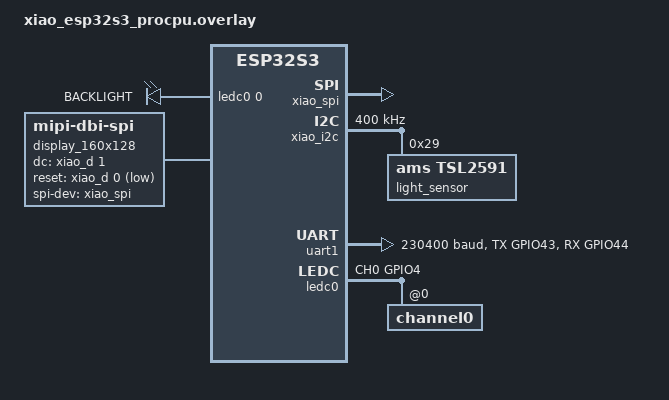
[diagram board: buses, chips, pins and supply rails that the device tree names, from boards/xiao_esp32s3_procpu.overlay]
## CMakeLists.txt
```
# SPDX-License-Identifier: Apache-2.0

cmake_minimum_required(VERSION 3.20.0)

set (CMAKE_CXX_STANDARD 20)
set (CMAKE_CXX_STANDARD_REQUIRED ON)

# Default board to seeed xiao esp32s3
if (NOT DEFINED ${BOARD})
  set(BOARD xiao_esp32s3/esp32s3/procpu)
endif()

# Define board root to find our custom shield
set(BOARD_ROOT ${CMAKE_SOURCE_DIR})

find_package(Zephyr REQUIRED HINTS $ENV{ZEPHYR_BASE})

project(imubar)

FILE(GLOB app_sources src/*.cpp)
FILE(GLOB font_sources src/fonts/*.c)
set(common_sources
  ${CMAKE_SOURCE_DIR}/../src/serial.cpp
  ${CMAKE_SOURCE_DIR}/../src/interface.cpp
)

add_compile_definitions(LV_LVGL_H_INCLUDE_SIMPLE)

target_sources(app PRIVATE ${app_sources} ${common_sources} ${font_sources})
```

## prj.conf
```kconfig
# ESP32S3 specific
#CONFIG_BOOTLOADER_MCUBOOT=y
CONFIG_DEBUG=y

CONFIG_LOG=y
CONFIG_UART_CONSOLE=y
CONFIG_LOG_MODE_IMMEDIATE=y
CONFIG_LOG_DEFAULT_LEVEL=2
CONFIG_LOG_BACKEND_UART=y
CONFIG_CBPRINTF_FP_SUPPORT=y

CONFIG_MAIN_STACK_SIZE=2048
CONFIG_HEAP_MEM_POOL_SIZE=131072
CONFIG_WATCHDOG=y
CONFIG_WDT_DISABLE_AT_BOOT=n

CONFIG_CPP=y
CONFIG_STD_CPP20=y
CONFIG_GLIBCXX_LIBCPP=y
CONFIG_FPU=y
CONFIG_FPU_SHARING=y

CONFIG_I2C=y                                                                                         
CONFIG_SPI=y
CONFIG_GPIO=y
CONFIG_PWM=y
CONFIG_SENSOR=y
CONFIG_SERIAL=y

CONFIG_UART_INTERRUPT_DRIVEN=y
CONFIG_UART_USE_RUNTIME_CONFIGURE=y

CONFIG_RING_BUFFER=y

CONFIG_DISPLAY=y
CONFIG_DISPLAY_LOG_LEVEL_ERR=y

CONFIG_LVGL=y
CONFIG_LV_Z_BITS_PER_PIXEL=16
CONFIG_LV_Z_MEM_POOL_SIZE=65536
CONFIG_LV_Z_SHELL=n
#CONFIG_LV_COLOR_DEPTH_32=y
CONFIG_LV_Z_FLUSH_THREAD=y

#CONFIG_LV_MEM_CUSTOM=y
CONFIG_LV_USE_LOG=y
CONFIG_LV_USE_LABEL=y
CONFIG_LV_USE_BTN=y
#CONFIG_LV_USE_ARC=y
#CONFIG_LV_USE_MONKEY=y

CONFIG_ESP_SPIRAM=y
CONFIG_ESP_SPIRAM_MEMTEST=n
CONFIG_SPIRAM_MODE_OCT=y
CONFIG_SPIRAM_TYPE_ESPPSRAM64=y
CONFIG_SPIRAM_SPEED_80M=y
CONFIG_ESP32S3_DATA_CACHE_64KB=y
```

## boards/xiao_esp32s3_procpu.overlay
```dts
#include <zephyr/dt-bindings/mipi_dbi/mipi_dbi.h>                                                    
#include <zephyr/dt-bindings/pwm/pwm.h>

/ {                                                                                                  
  backlight {
    compatible = "pwm-leds";
    backlight0: backlight_0 {
      pwms = <&ledc0 0 1000 PWM_POLARITY_NORMAL>;
      label = "BACKLIGHT";
    };
  };

  aliases {
    pwm0 = &ledc0;
    backlight0 = &backlight0;
    uartinterface = &uart1;
  };

  chosen {                                                                                     
    zephyr,display = &st7735s_160x128;                                       
  };                                                                                           

  display_160x128 {                                                               
    compatible = "zephyr,mipi-dbi-spi";                                                  
    spi-dev = <&xiao_spi>;                                                            
    dc-gpios = <&xiao_d 1 GPIO_ACTIVE_HIGH>;                     
    reset-gpios = <&xiao_d 0 GPIO_ACTIVE_LOW>;                     
    #address-cells = <1>;                                                                
    #size-cells = <0>;                                                                   

    st7735s_160x128: st7735r@0 {                                             
      compatible = "sitronix,st7735r";                                             
      mipi-max-frequency = <20000000>;                                             
      mipi-mode = <MIPI_DBI_MODE_SPI_4WIRE>;                                       
      reg = <0>;                                                                   
      width = <160>;                                                               
      height = <128>;                                                              
      x-offset = <0>;                                                              
      y-offset = <0>;                                                              
      madctl = <0x60>;                                                             
      colmod = <0x55>;                                                             
      vmctr1 = <0x0e>;                                                             
      pwctr1 = [a2 02 84];                                                         
      pwctr2 = [c5];                                                               
      pwctr3 = [0a 00];                                                            
      pwctr4 = [8a 2a];                                                            
      pwctr5 = [8a ee];                                                            
      frmctr1 = [01 2c 2d];                                                        
      frmctr2 = [01 2c 2d];                                                        
      frmctr3 = [01 2c 2d 01 2c 2d];                                               
      gamctrp1 = [02 1c 07 12 37 32 29 2d 29 25 2b 39 00 01 03 10];                
      gamctrn1 = [03 1d 07 06 2e 2c 29 2d 2e 2e 37 3f 00 00 02 10];                
    };                                                                                   
  };                                                                                           
};                          

&xiao_spi {
  status = "okay";
  cs-gpios = <&xiao_d 2 GPIO_ACTIVE_LOW>;
};

&xiao_i2c {
  clock-frequency = <I2C_BITRATE_FAST>;
  status = "okay";
  light_sensor: tsl2591@29 {
    compatible = "ams,tsl2591";
    reg = <0x29>;
  };
};

&pinctrl {
  uart0_default: uart0_default {
          group1 {
                  pinmux = <UART0_TX_GPIO33>;
                  output-high;
          };
          group2 {
                  pinmux = <UART0_RX_GPIO34>;
                  bias-pull-up;
          };
  };

  uart1_default: uart1_default {
          group1 {
                  pinmux = <UART1_TX_GPIO43>;
                  output-high;
          };
          group2 {
                  pinmux = <UART1_RX_GPIO44>;
                  bias-pull-up;
          };
  };

  ledc0_default: ledc0_default {
    group1 {
      pinmux = <LEDC_CH0_GPIO4>;
      output-enable;
    };
  };
};

&uart1 {
  status = "okay";
  current-speed = <230400>;
  pinctrl-0 = <&uart1_default>;
  pinctrl-names = "default";
};

&ledc0 {
  pinctrl-0 = <&ledc0_default>;
  pinctrl-names = "default";
  status = "okay";
  #address-cells = <1>;
  #size-cells = <0>;
  channel0@0 {
    reg = <0x0>;
    timer = <0>;
  };
};
```

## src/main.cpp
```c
#include <zephyr/kernel.h>
#include <zephyr/logging/log.h>
#include <zephyr/drivers/gpio.h>

#include "display.h"
#include "errors.h"
#include "watchdog.h"
#include "../../src/interface.h"

LOG_MODULE_REGISTER(imubar);

#define LED0_NODE DT_ALIAS(led0)

using namespace imubar;

/*
 * A build error on this line means your board is unsupported.
 * See the sample documentation for information on how to fix this.
 */
static const struct gpio_dt_spec led = GPIO_DT_SPEC_GET(LED0_NODE, gpios);

void check_show_messages() {
  char msg[32];
  auto size = interface::read((uint8_t*)msg, 31);
  msg[size] = '\0';
  if (size > 0) {
    LOG_INF("Message: %s", msg);
    display::show_message(msg);
  }
}

int main() {
  interface::initialize();
  display::initialize();
  watchdog::initialize();

  if (!gpio_is_ready_dt(&led)) {
    LOG_ERR("Led0 not ready");
    return 0;
  }

  auto ret = gpio_pin_configure_dt(&led, GPIO_OUTPUT_ACTIVE);
  if (ret < 0) {
    LOG_ERR("Failed to configure led0");
    return 0;
  }

  int i = 0;
  LOG_INF("Starting loop");
  while (true) {
    ++i;
    if (i % 10 == 0) {
      check_show_messages();
    }
    if (i % 100 == 0) {
      LOG_DBG("Toggle led...");
      gpio_pin_toggle_dt(&led);
      LOG_DBG("... done");
      LOG_DBG("Update backlight...");
      display::update_backlight();
      LOG_DBG("... done");
    }
    if (i % 1000 == 0) {
      LOG_DBG("Ping");
      interface::ping();
    }
    display::update();
    watchdog::feed();
    k_msleep(10);
  }
  return 0;
}
```

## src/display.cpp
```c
#include <zephyr/kernel.h>
#include <zephyr/drivers/display.h>
#include <zephyr/drivers/gpio.h>
#include <zephyr/drivers/pwm.h>
#include <zephyr/logging/log.h>
#include <zephyr/device.h>
#include <lvgl.h>

#include "errors.h"
#include "display.h"
#include "../../src/interface.h"


LV_FONT_DECLARE(font_8);
LV_FONT_DECLARE(font_12);
LV_FONT_DECLARE(font_14);
LV_FONT_DECLARE(font_14_bold);
LV_FONT_DECLARE(font_18);
LV_FONT_DECLARE(font_18_bold);
LV_FONT_DECLARE(symbols_14);
LV_FONT_DECLARE(symbols_18);
LV_FONT_DECLARE(symbols_22);

LOG_MODULE_DECLARE(imubar);

#define BACKLIGHT0_NODE DT_ALIAS(backlight0)
#define LIGHT_SENSOR DT_NODELABEL(light_sensor)

namespace imubar {
namespace display {

static const struct pwm_dt_spec backlight = PWM_DT_SPEC_GET(BACKLIGHT0_NODE);
static const struct device *display_dev = DEVICE_DT_GET(DT_CHOSEN(zephyr_display));
static const struct device *light_sensor = DEVICE_DT_GET(LIGHT_SENSOR);

static lv_style_t* create_style() {
  lv_style_t* result = (lv_style_t*)lv_mem_alloc(sizeof(lv_style_t));
  lv_style_init(result);
  return result;
}

static lv_obj_t* create_label(lv_obj_t* parent, lv_align_t align, lv_font_t const* font, int32_t x_offs=0, int32_t y_offs=0) {
  lv_obj_t* result = lv_label_create(parent);
  lv_style_t* style = create_style();
  lv_style_set_text_font(style, font);
  lv_obj_add_style(result, style, 0);
  lv_obj_align(result, align, x_offs, y_offs);
  return result;
}

void show_sensor_value(sensor_value value) {
  static lv_obj_t *label = create_label(lv_scr_act(), LV_ALIGN_CENTER, &font_14);
  static char value_str[16];
  snprintf(value_str, sizeof(value_str), "%d", value.val1);
  lv_label_set_text_static(label, value_str);
}

void show_message(char const* msg) {
  static lv_obj_t *label = create_label(lv_scr_act(), LV_ALIGN_BOTTOM_MID, &font_14);
  static char label_text[32];
  strncpy(label_text, msg, 32);
  label_text[31] = '\0';
  lv_label_set_text_static(label, label_text);
}

void set_backlight(uint8_t brightness) {
  pwm_set_dt(&backlight, 255000, 1000 * brightness);
}


void update_backlight() {
  auto ret = sensor_sample_fetch(light_sensor);
  if (ret < 0) {
    LOG_ERR("Failed to fetch light sensor sample");
    return;
  }
  sensor_value value;
  ret = sensor_channel_get(light_sensor, SENSOR_CHAN_LIGHT, &value);
  if (ret < 0) {
    LOG_ERR("Failed to get light sensor sample");
    return;
  }
  static int32_t light_value = 0;
  show_sensor_value(value);
  light_value = (light_value * 9 + value.val1) / 10;
  if (light_value > 1696) {
    set_backlight(254);
  }
  else if (light_value > 256) {
    set_backlight(light_value / 8 + 42);
  }
  else {
    set_backlight(light_value / 4 + 10);
  }
}

void update() {
  lv_task_handler();
}

void test() {
  static lv_style_t style1;
  static lv_style_t style2;
  static lv_style_t style3;
  static lv_style_t style4;
  static lv_style_t style5;
  static lv_style_t style6;

  lv_style_init(&style1);
  lv_style_set_text_font(&style1, &font_8);
  lv_style_set_text_color(&style1, lv_color_hex(0xFFFFFF));

  lv_style_init(&style2);
  lv_style_set_text_font(&style2, &font_12);
  lv_style_set_text_color(&style2, lv_color_hex(0xFFFFFF));

  lv_style_init(&style3);
  lv_style_set_text_font(&style3, &font_14);
  lv_style_set_text_color(&style3, lv_color_hex(0xFFFFFF));

  lv_style_init(&style4);
  lv_style_set_text_font(&style4, &symbols_14);
  lv_style_set_text_color(&style4, lv_color_hex(0xFFFFFF));

  lv_style_init(&style5);
  lv_style_set_text_font(&style5, &symbols_18);
  lv_style_set_text_color(&style5, lv_color_hex(0xFFFFFF));

  lv_style_init(&style6);
  lv_style_set_text_font(&style6, &symbols_22);
  lv_style_set_text_color(&style6, lv_color_hex(0xFFFFFF));


  static lv_obj_t * rect1 = lv_obj_create(lv_scr_act());
  lv_obj_set_size(rect1, 160, 128);
  lv_obj_set_pos(rect1, 0, 0);
  lv_obj_set_style_bg_color(rect1 , lv_color_hex(0x00FFFF), 0);

  static lv_obj_t * rect2 = lv_obj_create(lv_scr_act());
  lv_obj_set_size(rect2, 144, 112);
  lv_obj_set_style_pad_all(rect2, 5, 0);
  lv_obj_align(rect2, LV_ALIGN_CENTER, 0, 0);
  lv_obj_set_style_bg_color(rect2 , lv_color_hex(0xFF0000), 0);

  static lv_obj_t *label1 = lv_label_create(rect2);
  lv_obj_add_style(label1, &style1, 0);
  lv_label_set_text(label1, "12345.67890");
  lv_obj_align(label1, LV_ALIGN_TOP_MID, 0, 0);

  static lv_obj_t *label2 = lv_label_create(rect2);
  lv_obj_add_style(label2, &style2, 0);
  lv_label_set_text(label2, "12345.67890");
  lv_obj_align_to(label2, label1, LV_ALIGN_OUT_BOTTOM_MID, 0, -4);

  static lv_obj_t *label3 = lv_label_create(rect2);
  lv_obj_add_style(label3, &style3, 0);
  lv_label_set_text(label3, "12345.67890");
  lv_obj_align_to(label3, label2, LV_ALIGN_OUT_BOTTOM_MID, 0, 0);

  static lv_obj_t *label4 = lv_label_create(rect2);
  lv_obj_add_style(label4, &style4, 0);
  lv_label_set_text(label4, LV_SYMBOL_BATTERY_2);
  lv_obj_align_to(label4, label3, LV_ALIGN_OUT_BOTTOM_MID, 0, 0);

  static lv_obj_t *label5 = lv_label_create(rect2);
  lv_obj_add_style(label5, &style5, 0);
  lv_label_set_text(label5, LV_SYMBOL_BATTERY_2);
  lv_obj_align_to(label5, label4, LV_ALIGN_OUT_BOTTOM_MID, 0, 0);

  static lv_obj_t *label6 = lv_label_create(rect2);
  lv_obj_add_style(label6, &style6, 0);
  lv_label_set_text(label6, LV_SYMBOL_BATTERY_2);
  lv_obj_align_to(label6, label5, LV_ALIGN_OUT_BOTTOM_MID, 0, 0);
}

void initialize() {
  if (!device_is_ready(display_dev)) {
    error(2, "Display device not ready.");
  }

  if (!pwm_is_ready_dt(&backlight)) {
    error(2, "Backlight control not ready.");
  }

  if (!device_is_ready(light_sensor)) {
    error(2, "Light sensor not ready.");
  }

  show_message("No message");

  LOG_INF("Successful display init");
}

}  // namespace display
}  // namespace imubar
```

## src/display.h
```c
#ifndef IMUBAR_INTERFACE_DISPLAY_H__
#define IMUBAR_INTERFACE_DISPLAY_H__

#include <zephyr/drivers/sensor.h>

namespace imubar {
namespace display {

extern void set_backlight(uint8_t brightness);
extern void update_backlight();
extern void update();
extern void show_sensor_value(sensor_value value);
extern void show_message(char const* msg);
extern void initialize();

extern void test();

}  // namespace display
}  // namespace imubar

#endif
```

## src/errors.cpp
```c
#include "errors.h"

void halt_or_reboot() {
  k_sleep(K_SECONDS(1000000));
}
```

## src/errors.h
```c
#ifndef IMUBAR_ERRORS_H__
#define IMUBAR_ERRORS_H__

#include <zephyr/kernel.h>
#include <zephyr/sys/printk.h>

// We don't have user input so OK with non literal format strings
#pragma GCC diagnostic ignored "-Wformat-security"

extern void halt_or_reboot();

template <typename... Args>
inline void error(int category, char const *const message, Args... args) {
  printk(message, args...);
  printk("\n");
  halt_or_reboot();
}

#endif
```

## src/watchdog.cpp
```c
#include <zephyr/kernel.h>
#include <zephyr/drivers/watchdog.h>
#include <zephyr/device.h>
#include <zephyr/logging/log.h>

#include "errors.h"
#include "watchdog.h"

LOG_MODULE_DECLARE(imubar);

namespace imubar {
namespace watchdog {

#define WDT_MAX_WINDOW 1000U
#define WDT_MIN_WINDOW 0U

int wdt_channel_id = -1;
const struct device *const wdt = DEVICE_DT_GET(DT_ALIAS(watchdog0));

static void wdt_callback(const struct device *wdt_dev, int channel_id)
{
  static bool handled_event = false;

  if (handled_event) {
    return;
  }

  wdt_feed(wdt_dev, channel_id);

  LOG_WRN("Watchdog trigger\n");
  handled_event = true;
}

void initialize() {
  if (!device_is_ready(wdt)) {
    error(2, "Watchdog device not ready.");
  }

  struct wdt_timeout_cfg wdt_config{};
  /* Reset SoC when watchdog timer expires. */
  wdt_config.flags = WDT_FLAG_RESET_SOC,

  /* Expire watchdog after max window */
  wdt_config.window.min = WDT_MIN_WINDOW,
  wdt_config.window.max = WDT_MAX_WINDOW,
  wdt_config.callback = wdt_callback,

  wdt_channel_id = wdt_install_timeout(wdt, &wdt_config);
  if (wdt_channel_id == -ENOTSUP) {
    wdt_config.callback = NULL;
    wdt_channel_id = wdt_install_timeout(wdt, &wdt_config);
  }

  if (wdt_channel_id < 0) {
    error(2, "Watchdog install error");
    return;
  }

  auto ret = wdt_setup(wdt, WDT_OPT_PAUSE_HALTED_BY_DBG);
  if (ret < 0) {
    error(2, "Watchdog setup error: %d", ret);
    return;
  }

  LOG_INF("Successful watchdog init");
}

void feed() {
  wdt_feed(wdt, wdt_channel_id);
}

}  // namespace watchdog
}  // namespace imubar
```

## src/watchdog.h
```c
#ifndef IMUBAR_INTERFACE_WATCHDOG_H__
#define IMUBAR_INTERFACE_WATCHDOG_H__


namespace imubar {
namespace watchdog {

extern void initialize();
extern void feed();

}  // namespace watchdog
}  // namespace imubar

#endif
```
